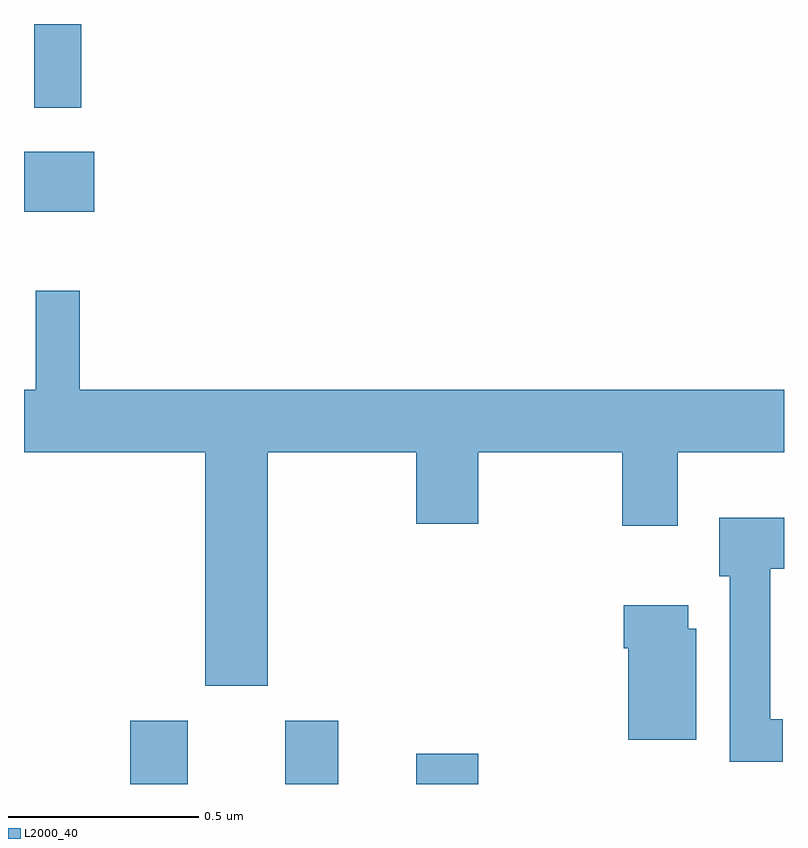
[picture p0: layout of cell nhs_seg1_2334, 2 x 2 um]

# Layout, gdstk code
import gdstk
lib = gdstk.Library(unit=1e-6, precision=1e-09)
def R(c, l, rs):  # rectangles x0, y0, x1, y1
    for r in rs: c.add(gdstk.rectangle(r[:2], r[2:], *l))
def P(c, l, *ps):  # polygons
    for p in ps: c.add(gdstk.Polygon(p, *l))
L2000_40 = (2000, 40)

nhs_seg1_2334 = lib.new_cell('nhs_seg1_2334')
R(nhs_seg1_2334, L2000_40, [(140.279,544.199,140.431,544.366), (140.687,544.199,140.827,544.366), (141.032,544.199,141.196,544.279), (140,545.705,140.185,545.863), (140.027,545.979,140.15,546.199)])
P(nhs_seg1_2334, L2000_40, [(140.641,545.072),(141.032,545.072),(141.032,544.884),(141.196,544.884),(141.196,545.072),(141.574,545.072),(141.574,544.878),(141.721,544.878),(141.721,545.072),(142,545.072),(142,545.236),(140.147,545.236),(140.147,545.497),(140.031,545.497),(140.031,545.236),(140,545.236),(140,545.072),(140.477,545.072),(140.477,544.458),(140.641,544.458)],
  [(141.997,544.37),(141.964,544.37),(141.964,544.766),(142,544.766),(142,544.9),(141.83,544.9),(141.83,544.746),(141.857,544.746),(141.857,544.257),(141.997,544.257)],
  [(141.769,544.608),(141.748,544.608),(141.748,544.669),(141.578,544.669),(141.578,544.556),(141.59,544.556),(141.59,544.316),(141.769,544.316)])

lib.write_gds('nhs_seg1_2334.gds')
